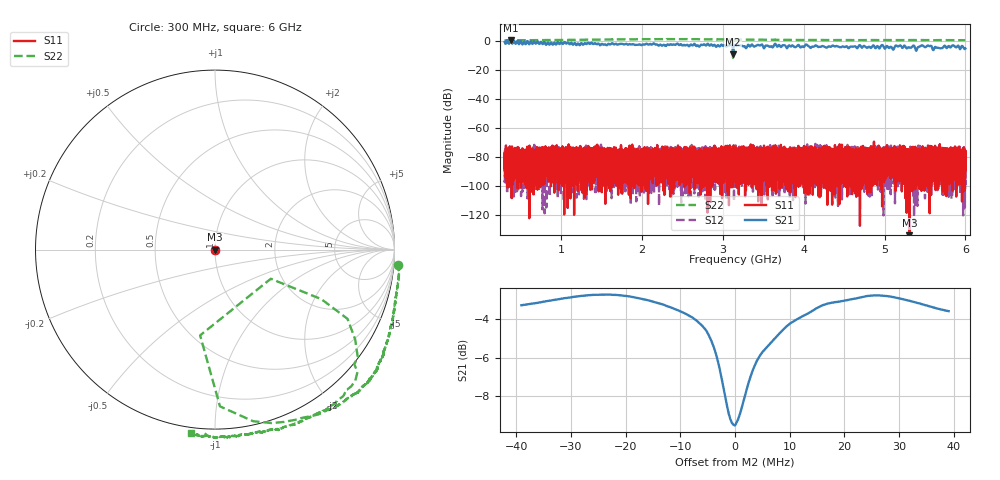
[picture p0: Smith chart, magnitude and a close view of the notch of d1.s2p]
!Agilent Technologies,N5230C,SG49000117,A.08.50.07
!Agilent N5230C: A.08.50.07
!Date: Sunday, March 17, 2024 09:00:42
!Correction: S11(Off)
!S21(Off)
!S12(Off)
!S22(Full 1 Port(2))
!S2P File: Measurements: S11, S21, S12, S22:
# Hz S  RI  R 50
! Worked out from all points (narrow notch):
!   20001 points, 300 MHz to 6 GHz, reference 50 ohm
!   highest |S21| = 0.48 dB at 374.4 MHz (marker M1); lowest = -9.5 dB at 3.125 GHz (marker M2)
!   notch at M2: 6.2 dB deep, 6.55 MHz wide at half that depth
!   lowest |S11| = -143.7 dB at 5.308 GHz (marker M3), VSWR 1.00, Z = 50 + j5.16e-06 ohm
!   |S11| at or under -10 dB: start of sweep to end of sweep
!   |S22| runs from -11.9 to 1.1 dB; largest |S21 - S12| = 1.1
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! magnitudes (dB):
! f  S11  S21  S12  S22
! 300 MHz  -89.0  -0.9  -82.3  0.2
! 374.4 MHz  -81.2  0.5  -81.2  0.3
! 1.25 GHz  -74.0  -1.7  -77.7  0.6
! 2.2 GHz  -95.2  -3.3  -81.0  1.0
! 3.051 GHz  -85.1  -3.9  -89.7  0.7
! 3.125 GHz  -82.5  -9.5  -85.5  -11.3
! 3.15 GHz  -81.9  -2.8  -86.4  0.5
! 3.163 GHz  -78.2  -3.5  -84.3  0.6
! 3.195 GHz  -78.3  -3.1  -89.4  0.7
! 3.979 GHz  -82.8  -4.0  -87.6  0.4
! 4.038 GHz  -80.9  -2.9  -84.5  0.4
! 4.1 GHz  -87.2  -4.3  -78.5  0.4
! 5.05 GHz  -79.3  -5.0  -101.4  0.4
! 5.171 GHz  -77.7  -4.0  -82.8  0.4
! 5.308 GHz  -143.7  -4.7  -82.8  0.4
! 5.402 GHz  -81.2  -5.7  -95.4  0.4
! 5.449 GHz  -78.6  -3.7  -81.3  0.4
! 5.551 GHz  -91.9  -3.7  -76.6  0.3
! 5.617 GHz  -77.9  -5.0  -79.8  0.3
! 5.849 GHz  -92.0  -3.2  -83.5  0.3
! 5.971 GHz  -75.0  -4.3  -80.7  0.3
! 6 GHz  -79.3  -5.4  -76.0  0.3
